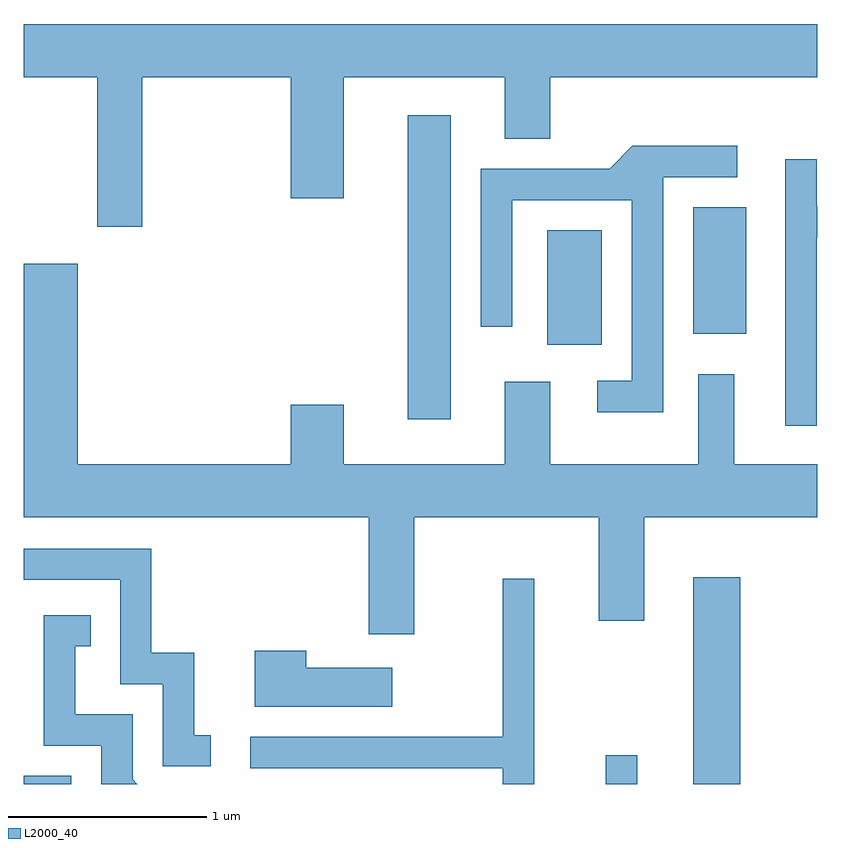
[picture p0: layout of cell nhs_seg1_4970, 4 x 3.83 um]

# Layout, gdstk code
import gdstk
lib = gdstk.Library(unit=1e-6, precision=1e-09)
def R(c, l, rs):  # rectangles x0, y0, x1, y1
    for r in rs: c.add(gdstk.rectangle(r[:2], r[2:], *l))
def P(c, l, *ps):  # polygons
    for p in ps: c.add(gdstk.Polygon(p, *l))
L2000_40 = (2000, 40)

nhs_seg1_4970 = lib.new_cell('nhs_seg1_4970')
R(nhs_seg1_4970, L2000_40, [(333.611,973.712,333.849,973.754), (336.546,973.712,336.704,973.858), (336.986,973.712,337.224,974.754), (335.546,975.551,335.764,977.084), (336.251,975.926,336.524,976.504), (336.986,975.981,337.254,976.619)])
P(nhs_seg1_4970, L2000_40, [(334.209,977.276),(334.956,977.276),(334.956,976.666),(335.224,976.666),(335.224,977.276),(336.036,977.276),(336.036,976.966),(336.264,976.966),(336.264,977.276),(337.611,977.276),(337.611,977.544),(333.611,977.544),(333.611,977.276),(333.981,977.276),(333.981,976.521),(334.209,976.521)],
  [(336.834,976.771),(337.208,976.771),(337.208,976.929),(336.679,976.929),(336.564,976.814),(335.916,976.814),(335.916,976.018),(336.074,976.018),(336.074,976.656),(336.676,976.656),(336.676,975.744),(336.503,975.744),(336.503,975.586),(336.834,975.586)],
  [(337.609,976.466),(337.611,976.466),(337.611,976.624),(337.609,976.624),(337.609,976.863),(337.451,976.863),(337.451,975.518),(337.609,975.518)],
  [(335.579,975.056),(336.511,975.056),(336.511,974.536),(336.739,974.536),(336.739,975.056),(337.611,975.056),(337.611,975.324),(337.194,975.324),(337.194,975.779),(337.011,975.779),(337.011,975.324),(336.264,975.324),(336.264,975.739),(336.036,975.739),(336.036,975.324),(335.224,975.324),(335.224,975.624),(334.956,975.624),(334.956,975.324),(333.884,975.324),(333.884,976.334),(333.611,976.334),(333.611,975.056),(335.351,975.056),(335.351,974.466),(335.579,974.466)],
  [(334.553,973.959),(334.469,973.959),(334.469,974.374),(334.254,974.374),(334.254,974.899),(333.611,974.899),(333.611,974.741),(334.096,974.741),(334.096,974.216),(334.311,974.216),(334.311,973.801),(334.553,973.801)],
  [(336.184,974.748),(336.026,974.748),(336.026,973.949),(334.753,973.949),(334.753,973.791),(336.026,973.791),(336.026,973.712),(336.184,973.712)],
  [(334.159,973.737),(334.159,974.064),(333.869,974.064),(333.869,974.406),(333.948,974.406),(333.948,974.564),(333.711,974.564),(333.711,973.906),(334.001,973.906),(334.001,973.712),(334.184,973.712)],
  [(335.469,974.299),(335.034,974.299),(335.034,974.384),(334.776,974.384),(334.776,974.101),(335.469,974.101)])

lib.write_gds('nhs_seg1_4970.gds')
